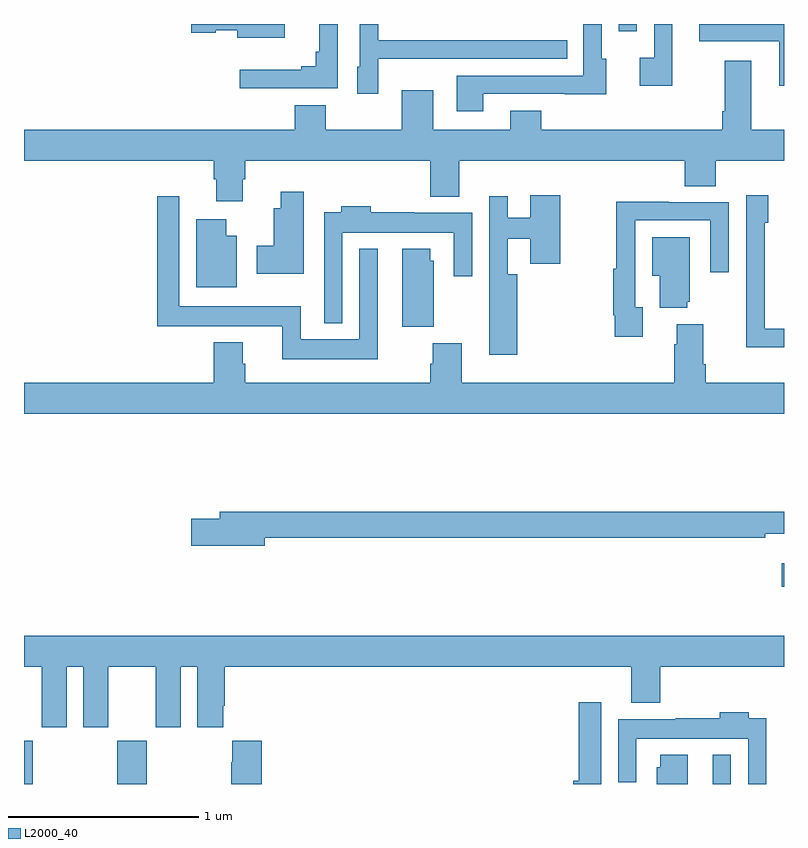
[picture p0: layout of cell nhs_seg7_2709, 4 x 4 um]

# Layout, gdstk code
import gdstk
lib = gdstk.Library(unit=1e-6, precision=1e-09)
def R(c, l, rs):  # rectangles x0, y0, x1, y1
    for r in rs: c.add(gdstk.rectangle(r[:2], r[2:], *l))
def P(c, l, *ps):  # polygons
    for p in ps: c.add(gdstk.Polygon(p, *l))
L2000_40 = (2000, 40)

nhs_seg7_2709 = lib.new_cell('nhs_seg7_2709')
R(nhs_seg7_2709, L2000_40, [(287,1000,287.046,1000.228), (287.491,1000,287.646,1000.228), (290.624,1000,290.721,1000.153), (290.988,1001.039,291,1001.161), (290.13,1003.962,290.226,1004)])
P(nhs_seg7_2709, L2000_40, [(290.413,1004),(290.316,1004),(290.316,1003.822),(290.241,1003.822),(290.241,1003.674),(290.413,1003.674)],
  [(291,1004),(290.555,1004),(290.555,1003.91),(290.975,1003.91),(290.975,1003.674),(291,1003.674)],
  [(288.864,1003.817),(289.181,1003.817),(289.181,1003.818),(289.859,1003.818),(289.859,1003.914),(288.864,1003.914),(288.864,1004),(288.768,1004),(288.768,1003.776),(288.755,1003.776),(288.755,1003.632),(288.864,1003.632)],
  [(288.373,1004),(287.88,1004),(287.88,1003.955),(288.009,1003.955),(288.009,1003.967),(288.122,1003.967),(288.122,1003.928),(288.373,1003.928)],
  [(288.651,1004),(288.554,1004),(288.554,1003.855),(288.535,1003.855),(288.535,1003.778),(288.458,1003.778),(288.458,1003.759),(288.135,1003.759),(288.135,1003.662),(288.651,1003.662)],
  [(289.417,1003.632),(289.847,1003.632),(289.847,1003.631),(290.065,1003.631),(290.065,1003.818),(290.04,1003.818),(290.04,1004),(289.944,1004),(289.944,1003.728),(289.277,1003.728),(289.277,1003.542),(289.417,1003.542)],
  [(288.151,1003.182),(288.164,1003.182),(288.164,1003.28),(289.139,1003.28),(289.139,1003.091),(289.291,1003.091),(289.291,1003.28),(290.477,1003.28),(290.477,1003.147),(290.642,1003.147),(290.642,1003.28),(291,1003.28),(291,1003.444),(290.827,1003.444),(290.827,1003.807),(290.687,1003.807),(290.687,1003.54),(290.675,1003.54),(290.675,1003.444),(289.723,1003.444),(289.723,1003.543),(289.559,1003.543),(289.559,1003.444),(289.153,1003.444),(289.153,1003.651),(288.989,1003.651),(288.989,1003.444),(288.589,1003.444),(288.589,1003.573),(288.425,1003.573),(288.425,1003.444),(287,1003.444),(287,1003.28),(287.999,1003.28),(287.999,1003.182),(288.011,1003.182),(288.011,1003.068),(288.151,1003.068)],
  [(288.472,1003.117),(288.35,1003.117),(288.35,1003.03),(288.314,1003.03),(288.314,1002.834),(288.225,1002.834),(288.225,1002.686),(288.472,1002.686)],
  [(291,1002.396),(290.898,1002.396),(290.898,1002.954),(290.917,1002.954),(290.917,1003.099),(290.802,1003.099),(290.802,1002.605),(290.8,1002.605),(290.8,1002.299),(291,1002.299)],
  [(289.595,1002.682),(289.545,1002.682),(289.545,1002.869),(289.664,1002.869),(289.664,1002.738),(289.822,1002.738),(289.822,1003.099),(289.664,1003.099),(289.664,1002.979),(289.545,1002.979),(289.545,1003.093),(289.449,1003.093),(289.449,1002.578),(289.448,1002.578),(289.448,1002.258),(289.595,1002.258)],
  [(288.862,1002.817),(288.765,1002.817),(288.765,1002.34),(288.456,1002.34),(288.456,1002.514),(287.817,1002.514),(287.817,1003.093),(287.701,1003.093),(287.701,1002.408),(287.824,1002.408),(287.824,1002.41),(288.359,1002.41),(288.359,1002.236),(288.862,1002.236)],
  [(290.257,1002.51),(290.217,1002.51),(290.217,1002.966),(290.613,1002.966),(290.613,1002.693),(290.709,1002.693),(290.709,1003.062),(290.393,1003.062),(290.393,1003.064),(290.116,1003.064),(290.116,1002.713),(290.101,1002.713),(290.101,1002.466),(290.109,1002.466),(290.109,1002.354),(290.257,1002.354)],
  [(288.675,1002.902),(289.263,1002.902),(289.263,1002.672),(289.359,1002.672),(289.359,1003.006),(289.055,1003.006),(289.055,1003.009),(288.824,1003.009),(288.824,1003.042),(288.671,1003.042),(288.671,1003.009),(288.579,1003.009),(288.579,1002.425),(288.675,1002.425)],
  [(288.121,1002.886),(288.064,1002.886),(288.064,1002.973),(287.906,1002.973),(287.906,1002.614),(288.121,1002.614)],
  [(290.492,1002.537),(290.503,1002.537),(290.503,1002.877),(290.306,1002.877),(290.306,1002.674),(290.345,1002.674),(290.345,1002.506),(290.492,1002.506)],
  [(289.156,1002.753),(289.138,1002.753),(289.138,1002.817),(288.992,1002.817),(288.992,1002.406),(289.156,1002.406)],
  [(290.575,1002.208),(290.575,1002.421),(290.435,1002.421),(290.435,1002.314),(290.423,1002.314),(290.423,1002.112),(289.304,1002.112),(289.304,1002.321),(289.151,1002.321),(289.151,1002.212),(289.139,1002.212),(289.139,1002.112),(288.164,1002.112),(288.164,1002.213),(288.151,1002.213),(288.151,1002.325),(287.999,1002.325),(287.999,1002.112),(287,1002.112),(287,1001.948),(291,1001.948),(291,1002.112),(290.588,1002.112),(290.588,1002.208)],
  [(288.268,1001.296),(290.9,1001.296),(290.9,1001.316),(291,1001.316),(291,1001.432),(288.029,1001.432),(288.029,1001.396),(287.88,1001.396),(287.88,1001.254),(288.268,1001.254)],
  [(287.224,1000.616),(287.312,1000.616),(287.312,1000.299),(287.443,1000.299),(287.443,1000.616),(287.693,1000.616),(287.693,1000.299),(287.824,1000.299),(287.824,1000.616),(287.912,1000.616),(287.912,1000.299),(288.049,1000.299),(288.049,1000.411),(288.056,1000.411),(288.056,1000.616),(290.195,1000.616),(290.195,1000.427),(290.348,1000.427),(290.348,1000.616),(291,1000.616),(291,1000.78),(287,1000.78),(287,1000.616),(287.093,1000.616),(287.093,1000.299),(287.224,1000.299)],
  [(290.037,1000.429),(289.921,1000.429),(289.921,1000.018),(289.892,1000.018),(289.892,1000),(290.037,1000)],
  [(290.907,1000.345),(290.815,1000.345),(290.815,1000.378),(290.663,1000.378),(290.663,1000.345),(290.431,1000.345),(290.431,1000.342),(290.127,1000.342),(290.127,1000.008),(290.223,1000.008),(290.223,1000.238),(290.811,1000.238),(290.811,1000),(290.907,1000)],
  [(288.251,1000.228),(288.095,1000.228),(288.095,1000.115),(288.091,1000.115),(288.091,1000),(288.251,1000)],
  [(290.494,1000.153),(290.348,1000.153),(290.348,1000.089),(290.33,1000.089),(290.33,1000),(290.494,1000)])

lib.write_gds('nhs_seg7_2709.gds')
